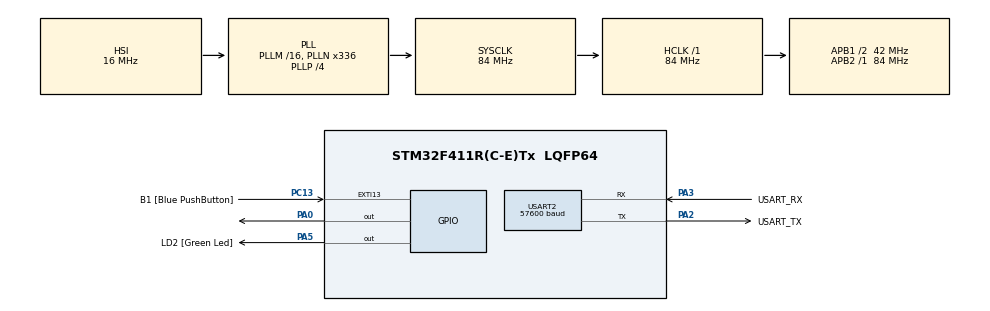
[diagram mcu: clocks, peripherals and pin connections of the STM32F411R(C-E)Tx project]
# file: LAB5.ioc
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Dma.Request0=USART2_RX
Dma.USART2_RX.0.Direction=DMA_PERIPH_TO_MEMORY
Dma.USART2_RX.0.FIFOMode=DMA_FIFOMODE_DISABLE
Dma.USART2_RX.0.Instance=DMA1_Stream5
Dma.USART2_RX.0.MemDataAlignment=DMA_MDATAALIGN_BYTE
Dma.USART2_RX.0.MemInc=DMA_MINC_ENABLE
Dma.USART2_RX.0.Mode=DMA_NORMAL
Dma.USART2_RX.0.PeriphDataAlignment=DMA_PDATAALIGN_BYTE
Dma.USART2_RX.0.PeriphInc=DMA_PINC_DISABLE
Dma.USART2_RX.0.Priority=DMA_PRIORITY_LOW
Mcu.Family=STM32F4
Mcu.Name=STM32F411R(C-E)Tx
Mcu.Package=LQFP64
NVIC.DMA1_Stream5_IRQn=true\:0\:0\:false\:false\:true\:false\:true\:true
NVIC.PriorityGroup=NVIC_PRIORITYGROUP_0
NVIC.USART2_IRQn=true\:0\:0\:false\:false\:true\:true\:true\:true
PA0-WKUP.Signal=GPIO_Output
PA13.GPIO_Label=TMS
PA13.Mode=Serial_Wire
PA13.Signal=SYS_JTMS-SWDIO
PA14.GPIO_Label=TCK
PA14.Mode=Serial_Wire
PA14.Signal=SYS_JTCK-SWCLK
PA2.GPIO_Label=USART_TX
PA2.Mode=Asynchronous
PA2.Signal=USART2_TX
PA3.GPIO_Label=USART_RX
PA3.Mode=Asynchronous
PA3.Signal=USART2_RX
PA5.GPIO_Label=LD2 [Green Led]
PA5.Signal=GPIO_Output
PB3.GPIO_Label=SWO
PB3.Signal=SYS_JTDO-SWO
PC13-ANTI_TAMP.GPIO_Label=B1 [Blue PushButton]
PC13-ANTI_TAMP.GPIO_ModeDefaultEXTI=GPIO_MODE_IT_FALLING
PC13-ANTI_TAMP.Signal=GPXTI13
PC14-OSC32_IN.Mode=LSE-External-Oscillator
PC14-OSC32_IN.Signal=RCC_OSC32_IN
PC15-OSC32_OUT.Mode=LSE-External-Oscillator
PC15-OSC32_OUT.Signal=RCC_OSC32_OUT
PH0\ -\ OSC_IN.Mode=HSE-External-Clock-Source
PH0\ -\ OSC_IN.Signal=RCC_OSC_IN
PH1\ -\ OSC_OUT.Mode=HSE-External-Clock-Source
PH1\ -\ OSC_OUT.Signal=RCC_OSC_OUT
ProjectManager.HeapSize=0x200
ProjectManager.StackSize=0x400
ProjectManager.TargetToolchain=STM32CubeIDE
RCC.48MHZClocksFreq_Value=84000000
RCC.AHBFreq_Value=84000000
RCC.APB1CLKDivider=RCC_HCLK_DIV2
RCC.APB1Freq_Value=42000000
RCC.APB1TimFreq_Value=84000000
RCC.APB2Freq_Value=84000000
RCC.APB2TimFreq_Value=84000000
RCC.CortexFreq_Value=84000000
RCC.FLatency-AdvancedSettings=FLASH_LATENCY_2
RCC.HCLKFreq_Value=84000000
RCC.HSE_VALUE=8000000
RCC.HSI_VALUE=16000000
RCC.PLLN=336
RCC.PLLP=RCC_PLLP_DIV4
RCC.SYSCLKFreq_VALUE=84000000
RCC.SYSCLKSource=RCC_SYSCLKSOURCE_PLLCLK
RCC.VCOOutputFreq_Value=336000000
USART2.BaudRate=57600
USART2.VirtualMode=VM_ASYNC
board=NUCLEO-F411RE

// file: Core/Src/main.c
/* USER CODE BEGIN Header */
/**
  ******************************************************************************
  * @file           : main.c
  * @brief          : Main program body
  ******************************************************************************
  * @attention
  *
  * Copyright (c) 2023 STMicroelectronics.
  * All rights reserved.
  *
  * This software is licensed under terms that can be found in the LICENSE file
  * in the root directory of this software component.
  * If no LICENSE file comes with this software, it is provided AS-IS.
  *
  ******************************************************************************
  */
/* USER CODE END Header */
#include "main.h"

/* USER CODE BEGIN Includes */
#include "stdio.h"
#include "string.h"
/* USER CODE END Includes */

UART_HandleTypeDef huart2;
DMA_HandleTypeDef hdma_usart2_rx;

/* USER CODE BEGIN PV */
uint8_t RxBuffer[1];
uint8_t TxBuffer[40];

//Menu
uint8_t Menu[700] = 	"============================= \r\n"
						"      ****  Menu ****         \r\n"
						"  < Please Select 1 Choise >  \r\n"
						"            GoGO !!           \r\n"
						"       0 : LED CONTROL        \r\n"
						"       1 : BUTTON STATUS      \r\n"
						"============================= \r\n";
uint8_t Menu2[700] = 	"============================= \r\n"
						"  ** Menu of LED Control **   \r\n"
						"  < Please Select 1 Choise >  \r\n"
						"            GoGO !!           \r\n"
						"       a : SPEED UP      	   \r\n"
						"       s : SPEED DOWN     	   \r\n"
						"       d : ON/OFF      	   \r\n"
						"============================= \r\n"
						"     X : GO BACK TO MENU      \r\n"
						"============================= \r\n";
uint8_t Menu3[700] =    "============================= \r\n"
						"      **  Menu BUTTON **      \r\n"
						"  < Please Select 1 Choise >  \r\n"
						"            GoGO !!           \r\n"
						"     X : GO BACK TO MENU      \r\n"
						"============================= \r\n";

uint8_t state = 0;

// status
uint8_t LED_ON[10] = "ON\r\n";
uint8_t LED_OFF[10] = "OFF\r\n";
uint8_t wrong_op[20] = "You Are Wrong\r\n";

//Button
uint8_t Button =0;
uint8_t Check = 0;
uint8_t Press_Button[30] = "PRESSED\r\n" ;
uint8_t Undo[30] = "UNPRESSED\r\n"    ;
uint8_t once =0;

//LED
uint8_t HZ =0;
uint8_t HZ_2 =0;
uint8_t LED_st = 0;
uint8_t HZ_Check =0;

/* USER CODE END PV */

void SystemClock_Config(void);
static void MX_GPIO_Init(void);
static void MX_DMA_Init(void);
static void MX_USART2_UART_Init(void);
/* USER CODE BEGIN PFP */
void UARTPollingMethod();
void DummyTask();
void interrupt();
void HAL_UART_RxCpltCallback(UART_HandleTypeDef *huart);
/* USER CODE END PFP */

int main(void)
{

  /* MCU Configuration--------------------------------------------------------*/

  /* Reset of all peripherals, Initializes the Flash interface and the Systick. */
  HAL_Init();

  /* Configure the system clock */
  SystemClock_Config();

  /* Initialize all configured peripherals */
  MX_GPIO_Init();
  MX_DMA_Init();
  MX_USART2_UART_Init();
  /* USER CODE BEGIN 2 */
  interrupt();

  /* USER CODE END 2 */

  /* Infinite loop */
	while (1) {

    /* USER CODE BEGIN 3 */
		HAL_GPIO_TogglePin(GPIOA, GPIO_Pin_0);
		static uint32_t timestamp = 0;
		if (HAL_GetTick() > timestamp) {

			if (HZ > 0) {
				HZ_Check = (1/HZ)*500;
			}
			else
			{
				HZ_Check = 0;
			}
			timestamp = HAL_GetTick() + HZ_Check;

			if(LED_st == 0 || HZ == 0){
				HAL_GPIO_WritePin(LD2_GPIO_Port, LD2_Pin, RESET);
			}
			else{
				HAL_GPIO_TogglePin(LD2_GPIO_Port, LD2_Pin);
			}
		}

		switch (state)
		{
		case 0:
			HAL_Delay(5);
			HAL_UART_Transmit_IT(&huart2, Menu, strlen((char*) Menu));
			state = 1;
			break;
		case 1:
			if(RxBuffer[0] == '0'){
				RxBuffer[0] = 0;
				state = 2;
			}
			else if(RxBuffer[0] == '1'){
				RxBuffer[0] = 0;
				state = 4;
			}
			else if(RxBuffer[0] != '0' && '1' )
			{
				HAL_Delay(5);
				HAL_UART_Transmit_IT(&huart2, wrong_op, strlen((char*) wrong_op));
				RxBuffer[0] = 0;
				state = 1;
			}
			break;
		case 2:
			HAL_Delay(5);
			HAL_UART_Transmit_IT(&huart2, Menu2, strlen((char*) Menu2));
			state = 3;
			break;
		case 3:
			if (RxBuffer[0] == 'a')
			{
				HZ += 1;
				HZ_2 += 1;

				state = 3;
				RxBuffer[0] = 0;

			}
			else if (RxBuffer[0] == 's')
			{
				HZ -= 1;
				if(HZ <= 0){
					HZ = 0;
				}
				HZ_2 -= 1;
				if(HZ_2 <= 0){
					HZ_2 = 0;
				}

				state = 3;
				RxBuffer[0] = 0;
			}
			else if(RxBuffer[0] == 'd')
			{
				if(LED_st)
				{
					LED_st = 0;
					RxBuffer[0] = 0;

					HZ = 0;
					HAL_UART_Transmit_IT(&huart2, LED_OFF, strlen((char*) LED_OFF));
					HAL_GPIO_WritePin(LD2_GPIO_Port, LD2_Pin, SET);
				}
				else
				{
					LED_st = 1;
					RxBuffer[0] = 0;

					HZ = HZ_2;
					HAL_UART_Transmit_IT(&huart2, LED_ON, strlen((char*) LED_ON));
				}
			}
			else if(RxBuffer[0] == 'x')
			{
				RxBuffer[0] = 0;
				state = 0;
			}
			break;

		case 4:
			HAL_Delay(5);
			HAL_UART_Transmit_IT(&huart2, Menu3, strlen((char*) Menu3));
			state = 5;
			break;
		case 5:
			Button = HAL_GPIO_ReadPin(GPIOC, GPIO_PIN_13);
			if(Button == 1 && Check == 0)
			{
				HAL_UART_Transmit_IT(&huart2, Undo, strlen((char*) Undo));
				once = 0;
			}
			else if(Button == 0 && Check == 0)
			{
				if(!once)
				 {
					HAL_UART_Transmit_IT(&huart2, Press_Button, strlen((char*) Press_Button));
					once = 1;
				}
			}
			else if (RxBuffer[0] == 'x')
			{
				RxBuffer[0] = 0;
				state = 0;
			}
			Check = Button;
			break;
		}

	}
  /* USER CODE END 3 */
}

void SystemClock_Config(void)
{
  RCC_OscInitTypeDef RCC_OscInitStruct = {0};
  RCC_ClkInitTypeDef RCC_ClkInitStruct = {0};

  /** Configure the main internal regulator output voltage
  */
  __HAL_RCC_PWR_CLK_ENABLE();
  __HAL_PWR_VOLTAGESCALING_CONFIG(PWR_REGULATOR_VOLTAGE_SCALE1);

  /** Initializes the RCC Oscillators according to the specified parameters
  * in the RCC_OscInitTypeDef structure.
  */
  RCC_OscInitStruct.OscillatorType = RCC_OSCILLATORTYPE_HSI;
  RCC_OscInitStruct.HSIState = RCC_HSI_ON;
  RCC_OscInitStruct.HSICalibrationValue = RCC_HSICALIBRATION_DEFAULT;
  RCC_OscInitStruct.PLL.PLLState = RCC_PLL_ON;
  RCC_OscInitStruct.PLL.PLLSource = RCC_PLLSOURCE_HSI;
  RCC_OscInitStruct.PLL.PLLM = 16;
  RCC_OscInitStruct.PLL.PLLN = 336;
  RCC_OscInitStruct.PLL.PLLP = RCC_PLLP_DIV4;
  RCC_OscInitStruct.PLL.PLLQ = 4;
  if (HAL_RCC_OscConfig(&RCC_OscInitStruct) != HAL_OK)
  {
    Error_Handler();
  }

  /** Initializes the CPU, AHB and APB buses clocks
  */
  RCC_ClkInitStruct.ClockType = RCC_CLOCKTYPE_HCLK|RCC_CLOCKTYPE_SYSCLK
                              |RCC_CLOCKTYPE_PCLK1|RCC_CLOCKTYPE_PCLK2;
  RCC_ClkInitStruct.SYSCLKSource = RCC_SYSCLKSOURCE_PLLCLK;
  RCC_ClkInitStruct.AHBCLKDivider = RCC_SYSCLK_DIV1;
  RCC_ClkInitStruct.APB1CLKDivider = RCC_HCLK_DIV2;
  RCC_ClkInitStruct.APB2CLKDivider = RCC_HCLK_DIV1;

  if (HAL_RCC_ClockConfig(&RCC_ClkInitStruct, FLASH_LATENCY_2) != HAL_OK)
  {
    Error_Handler();
  }
}

static void MX_USART2_UART_Init(void)
{

  huart2.Instance = USART2;
  huart2.Init.BaudRate = 57600;
  huart2.Init.WordLength = UART_WORDLENGTH_8B;
  huart2.Init.StopBits = UART_STOPBITS_1;
  huart2.Init.Parity = UART_PARITY_NONE;
  huart2.Init.Mode = UART_MODE_TX_RX;
  huart2.Init.HwFlowCtl = UART_HWCONTROL_NONE;
  huart2.Init.OverSampling = UART_OVERSAMPLING_16;
  if (HAL_UART_Init(&huart2) != HAL_OK)
  {
    Error_Handler();
  }

}

static void MX_DMA_Init(void)
{

  /* DMA controller clock enable */
  __HAL_RCC_DMA1_CLK_ENABLE();

  /* DMA interrupt init */
  /* DMA1_Stream5_IRQn interrupt configuration */
  HAL_NVIC_SetPriority(DMA1_Stream5_IRQn, 0, 0);
  HAL_NVIC_EnableIRQ(DMA1_Stream5_IRQn);

}

static void MX_GPIO_Init(void)
{
  GPIO_InitTypeDef GPIO_InitStruct = {0};

  /* GPIO Ports Clock Enable */
  __HAL_RCC_GPIOC_CLK_ENABLE();
  __HAL_RCC_GPIOH_CLK_ENABLE();
  __HAL_RCC_GPIOA_CLK_ENABLE();
  __HAL_RCC_GPIOB_CLK_ENABLE();

  /*Configure GPIO pin Output Level */
  HAL_GPIO_WritePin(GPIOA, GPIO_PIN_0|LD2_Pin, GPIO_PIN_RESET);

  /*Configure GPIO pin : B1_Pin */
  GPIO_InitStruct.Pin = B1_Pin;
  GPIO_InitStruct.Mode = GPIO_MODE_IT_FALLING;
  GPIO_InitStruct.Pull = GPIO_NOPULL;
  HAL_GPIO_Init(B1_GPIO_Port, &GPIO_InitStruct);

  /*Configure GPIO pins : PA0 LD2_Pin */
  GPIO_InitStruct.Pin = GPIO_PIN_0|LD2_Pin;
  GPIO_InitStruct.Mode = GPIO_MODE_OUTPUT_PP;
  GPIO_InitStruct.Pull = GPIO_NOPULL;
  GPIO_InitStruct.Speed = GPIO_SPEED_FREQ_LOW;
  HAL_GPIO_Init(GPIOA, &GPIO_InitStruct);

}

/* USER CODE BEGIN 4 */
void interrupt()
{
	HAL_UART_Receive_IT(&huart2, RxBuffer , 1);

}
void HAL_UART_RxCpltCallback(UART_HandleTypeDef *huart)
{
	if(huart == &huart2)
	{
		RxBuffer[2]= '\0';
		//return
		sprintf((char*)TxBuffer,"CHOOSE: %s\r\n" ,RxBuffer);
		HAL_UART_Transmit_IT(&huart2, TxBuffer,strlen((char*)TxBuffer));
		// recall
		HAL_UART_Receive_IT(&huart2, RxBuffer, 1);
	}
}
void UARTPollingMethod()
{
	//10ตัว in 10000ms
	HAL_StatusTypeDef HAL_status = HAL_UART_Receive(&huart2, RxBuffer , 10 ,10000);
	if(HAL_status == HAL_OK)
	{
		RxBuffer[10] = '\0';
		sprintf((char*)TxBuffer,"Received : %s\r\n" ,RxBuffer);
		HAL_UART_Transmit(&huart2, TxBuffer,strlen((char*)TxBuffer),10);
	}
	else if (HAL_status == HAL_TIMEOUT)
	{
		uint32_t lastCharPos = huart2.RxXferSize - huart2.RxXferCount;
		RxBuffer[lastCharPos] = '\0';
		//return received
		sprintf((char*)TxBuffer,"Received Timeout : %s\r\n" ,RxBuffer);
		HAL_UART_Transmit(&huart2, TxBuffer,strlen((char*)TxBuffer),10);

	}
}
void DummyTask()
{
	static uint32_t timestamp=0;
	if(HAL_GetTick()>= timestamp)
	{
		timestamp = HAL_GetTick()+100;
		HAL_GPIO_TogglePin(LD2_GPIO_Port, LD2_Pin);
	}
}
/* USER CODE END 4 */

void Error_Handler(void)
{
  __disable_irq();
  while (1)
  {
  }
}
